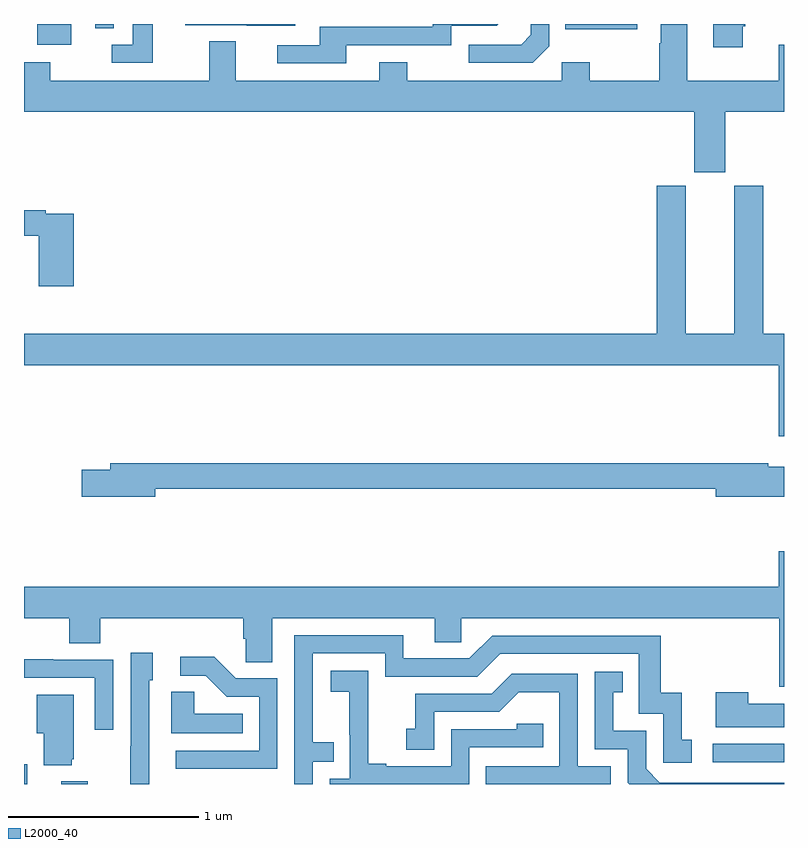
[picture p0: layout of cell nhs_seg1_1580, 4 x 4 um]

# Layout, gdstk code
import gdstk
lib = gdstk.Library(unit=1e-6, precision=1e-09)
def R(c, l, rs):  # rectangles x0, y0, x1, y1
    for r in rs: c.add(gdstk.rectangle(r[:2], r[2:], *l))
def P(c, l, *ps):  # polygons
    for p in ps: c.add(gdstk.Polygon(p, *l))
L2000_40 = (2000, 40)

nhs_seg1_1580 = lib.new_cell('nhs_seg1_1580')
R(nhs_seg1_1580, L2000_40, [(197,544.199,197.017,544.302), (197.195,544.199,197.335,544.213), (200.625,544.314,201,544.41), (197.069,548.09,197.248,548.199), (199.849,548.171,200.227,548.199), (197.376,548.176,197.472,548.199)])
P(nhs_seg1_1580, L2000_40, [(199.764,548.082),(199.764,548.199),(199.668,548.199),(199.668,548.142),(199.617,548.091),(199.341,548.091),(199.341,547.995),(199.677,547.995)],
  [(200.692,547.736),(201,547.736),(201,548.089),(200.972,548.089),(200.972,547.9),(200.491,547.9),(200.491,548.199),(200.351,548.199),(200.351,548.099),(200.344,548.099),(200.344,547.9),(199.977,547.9),(199.977,547.999),(199.83,547.999),(199.83,547.9),(199.017,547.9),(199.017,547.999),(198.869,547.999),(198.869,547.9),(198.115,547.9),(198.115,548.108),(197.975,548.108),(197.975,547.9),(197.139,547.9),(197.139,547.999),(197,547.999),(197,547.736),(200.528,547.736),(200.528,547.419),(200.692,547.419)],
  [(198.697,548.088),(199.248,548.088),(199.248,548.19),(199.488,548.19),(199.497,548.199),(199.152,548.199),(199.152,548.184),(198.557,548.184),(198.557,548.088),(198.333,548.088),(198.333,547.992),(198.697,547.992)],
  [(197.677,548.199),(197.573,548.199),(197.573,548.091),(197.463,548.091),(197.463,547.995),(197.677,547.995)],
  [(200.782,548.188),(200.795,548.188),(200.795,548.199),(200.627,548.199),(200.627,548.076),(200.782,548.076)],
  [(198.427,548.199),(197.849,548.199),(197.849,548.193),(198.173,548.193),(198.173,548.189),(198.427,548.189)],
  [(201,546.568),(200.891,546.568),(200.891,547.347),(200.738,547.347),(200.738,546.568),(200.482,546.568),(200.482,547.347),(200.33,547.347),(200.33,546.568),(197,546.568),(197,546.404),(200.972,546.404),(200.972,546.03),(201,546.03)],
  [(197.261,547.2),(197.114,547.2),(197.114,547.22),(197,547.22),(197,547.084),(197.078,547.084),(197.078,546.819),(197.261,546.819)],
  [(197.692,545.752),(200.642,545.752),(200.642,545.71),(201,545.71),(201,545.869),(200.918,545.869),(200.918,545.888),(197.453,545.888),(197.453,545.852),(197.304,545.852),(197.304,545.71),(197.692,545.71)],
  [(201,545.425),(200.972,545.425),(200.972,545.236),(197,545.236),(197,545.072),(197.237,545.072),(197.237,544.939),(197.402,544.939),(197.402,545.072),(198.155,545.072),(198.155,544.963),(198.168,544.963),(198.168,544.84),(198.307,544.84),(198.307,545.072),(199.163,545.072),(199.163,544.945),(199.302,544.945),(199.302,545.072),(200.975,545.072),(200.975,544.71),(201,544.71)],
  [(198.519,544.317),(198.629,544.317),(198.629,544.418),(198.519,544.418),(198.519,544.887),(198.9,544.887),(198.9,544.764),(199.386,544.764),(199.506,544.884),(200.235,544.884),(200.235,544.569),(200.364,544.569),(200.364,544.311),(200.515,544.311),(200.515,544.431),(200.462,544.431),(200.462,544.678),(200.351,544.678),(200.351,544.98),(199.464,544.98),(199.344,544.86),(198.997,544.86),(198.997,544.983),(198.423,544.983),(198.423,544.199),(198.519,544.199)],
  [(197.658,544.746),(197.677,544.746),(197.677,544.891),(197.562,544.891),(197.562,544.397),(197.56,544.397),(197.56,544.199),(197.658,544.199)],
  [(198.333,544.755),(198.114,544.755),(198.001,544.868),(197.823,544.868),(197.823,544.77),(197.957,544.77),(198.068,544.659),(198.237,544.659),(198.237,544.374),(197.799,544.374),(197.799,544.278),(198.333,544.278)],
  [(197.469,544.854),(197.153,544.854),(197.153,544.856),(197,544.856),(197,544.758),(197.373,544.758),(197.373,544.485),(197.469,544.485)],
  [(199.344,544.392),(199.733,544.392),(199.733,544.515),(199.593,544.515),(199.593,544.488),(199.248,544.488),(199.248,544.293),(198.907,544.293),(198.907,544.306),(198.812,544.306),(198.812,544.589),(198.813,544.589),(198.813,544.795),(198.615,544.795),(198.615,544.685),(198.713,544.685),(198.713,544.457),(198.714,544.457),(198.714,544.227),(198.609,544.227),(198.609,544.199),(199.344,544.199)],
  [(201,544.206),(200.346,544.206),(200.274,544.278),(200.274,544.479),(200.101,544.479),(200.101,544.683),(200.15,544.683),(200.15,544.789),(200.004,544.789),(200.004,544.383),(200.178,544.383),(200.178,544.206),(200.185,544.199),(201,544.199)],
  [(200.088,544.293),(199.914,544.293),(199.914,544.779),(199.568,544.779),(199.463,544.674),(199.06,544.674),(199.06,544.489),(199.011,544.489),(199.011,544.38),(199.158,544.38),(199.158,544.578),(199.5,544.578),(199.604,544.682),(199.818,544.682),(199.818,544.293),(199.429,544.293),(199.429,544.199),(200.088,544.199)],
  [(198.152,544.57),(197.895,544.57),(197.895,544.685),(197.774,544.685),(197.774,544.466),(198.152,544.466)],
  [(201,544.621),(200.813,544.621),(200.813,544.681),(200.642,544.681),(200.642,544.499),(201,544.499)],
  [(197.252,544.329),(197.263,544.329),(197.263,544.669),(197.066,544.669),(197.066,544.466),(197.105,544.466),(197.105,544.298),(197.252,544.298)])

lib.write_gds('nhs_seg1_1580.gds')
